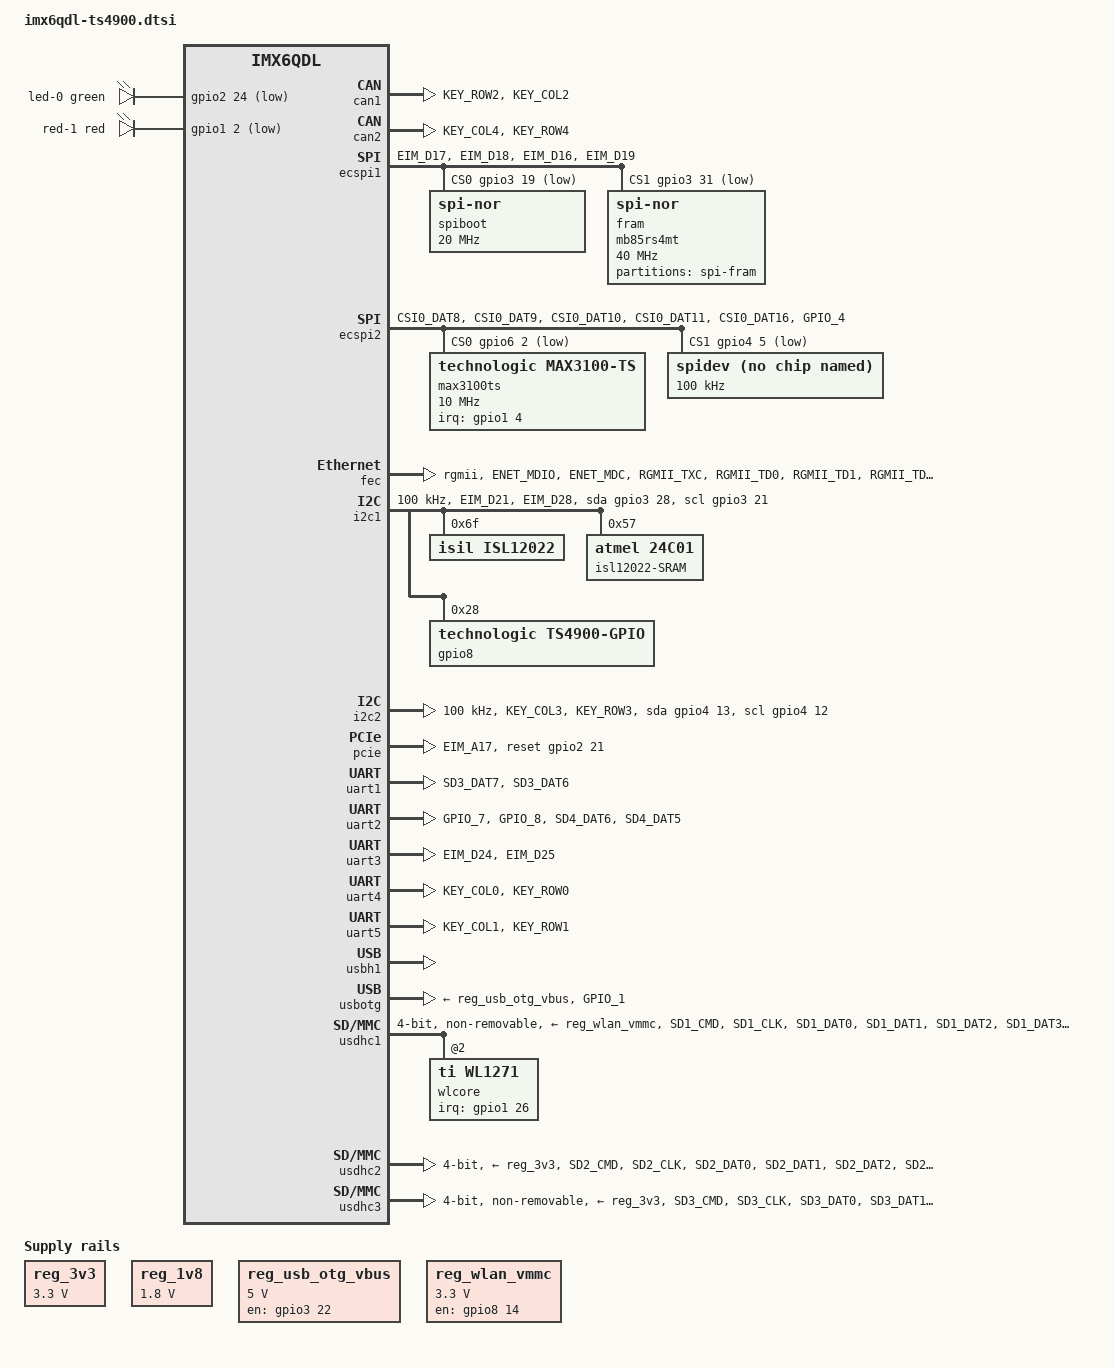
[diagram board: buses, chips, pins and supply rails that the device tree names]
// SPDX-License-Identifier: GPL-2.0 OR X11
/*
 * Copyright 2015-2022 Technologic Systems, Inc. dba embeddedTS
 */

#include <dt-bindings/leds/common.h>
#include <dt-bindings/gpio/gpio.h>
#include <dt-bindings/interrupt-controller/irq.h>

/ {
	aliases {
		ethernet0 = &fec;
	};

  // LED controller
	led-controller {
		pinctrl-names = "default";
		pinctrl-0 = <&pinctrl_gpio_leds>;
		compatible = "gpio-leds";

		led-0 {
			color = <LED_COLOR_ID_GREEN>;
			function = LED_FUNCTION_POWER;
			gpios = <&gpio2 24 GPIO_ACTIVE_LOW>;
			default-state = "on";
		};

		red-1 {
			color = <LED_COLOR_ID_RED>;
			functino = LED_FUNCTION_STATUS;
			gpios = <&gpio1 2 GPIO_ACTIVE_LOW>;
			default-state = "off";
		};
	};

  // Power regulator?
	reg_3v3: regulator-3v3 {
		compatible = "regulator-fixed";
		regulator-name = "3V3";
		regulator-min-microvolt = <3300000>;
		regulator-max-microvolt = <3300000>;
		regulator-always-on;
	};

  // Power regulator?
	reg_1v8: regulator-1v8 {
		compatible = "regulator-fixed";
		regulator-name = "1V8";
		regulator-min-microvolt = <1800000>;
		regulator-max-microvolt = <1800000>;
		regulator-always-on;
	};

  // USB power supply?
	reg_usb_otg_vbus: regulator-usb-otg-vbus {
		compatible = "regulator-fixed";
		regulator-name = "USB_OTG_VBUS";
		regulator-min-microvolt = <5000000>;
		regulator-max-microvolt = <5000000>;
		gpio = <&gpio3 22 GPIO_ACTIVE_HIGH>;
		enable-active-high;
	};

  // modem power supply?
	reg_wlan_vmmc: regulator-wlan-vmmc {
		compatible = "regulator-fixed";
		regulator-name = "WLAN_3V3";
		regulator-min-microvolt = <3300000>;
		regulator-max-microvolt = <3300000>;
		gpio = <&gpio8 14 GPIO_ACTIVE_HIGH>;
		startup-delay-us = <70000>;
		enable-active-high;
	};
};

// CAN bus 1
&can1 {
	pinctrl-names = "default";
	pinctrl-0 = <&pinctrl_flexcan1>;
	status = "okay";
};

// CAN bus 2
&can2 {
	pinctrl-names = "default";
	pinctrl-0 = <&pinctrl_flexcan2>;
	status = "okay";
};

// SPI controller 1
&ecspi1 {
	num-cs = <2>;
	cs-gpios = <&gpio3 19 GPIO_ACTIVE_LOW>,<&gpio3 31 GPIO_ACTIVE_LOW>;
	pinctrl-names = "default";
	pinctrl-0 = <&pinctrl_ecspi1>;
	status = "okay";

  // our SPI flash?
	spiboot: flash@0 {
		compatible = "jedec,spi-nor";
		reg = <0>;
		spi-max-frequency = <20000000>;
	};

  fram: mb85rs4mt@1 {
    compatible = "jedec,spi-nor";
    reg = <1>;
    spi-max-frequency = <40000000>;
    #address-cells = <1>;
    #size-cells = <1>;
    m25p,fast-read;
    status = "okay";

    partition@p1 {
    label = "spi-fram";
    reg = <0x0 0x20000>;
    };
  };
};


// SPI 2
&ecspi2 {
	num-cs = <2>;
	cs-gpios = <&gpio6 2 GPIO_ACTIVE_LOW>, <&gpio4 5 GPIO_ACTIVE_LOW>;
	pinctrl-names = "default";
	pinctrl-0 = <&pinctrl_ecspi2>;
	status = "okay";

	max3100ts: serial@0 {
		compatible = "technologic,max3100-ts";
		reg = <0>;
		interrupt-parent = <&gpio1>;
		interrupts = <4 IRQ_TYPE_LEVEL_LOW>;
		spi-max-frequency = <10000000>;
		loopback = <0>;
		crystal = <1>;
		poll-time = <100>;
	};

  spidev@1 {
      compatible = "linux,spidev";
      reg = <1>;                   /* Chip select line 0 */
      spi-max-frequency = <100000>; /* Maximum SPI frequency */
  };
};
  
// Ethernet controller
&fec {
	pinctrl-names = "default";
	pinctrl-0 = <&pinctrl_enet>;
	interrupts-extended = <&gpio1 6 IRQ_TYPE_LEVEL_HIGH>,
			      <&intc 0 119 IRQ_TYPE_LEVEL_HIGH>;
	fsl,err006687-workaround-present;
	phy-mode = "rgmii";
	status = "okay";
};


// GPIO controller 1 Pin control names
&gpio1 {
	gpio-line-names = "AUD_MCLK", "", "", "", "", "REVA_DIO_1", "", "", "",
		"REVA_DIO_3", "", "", "", "", "", "", "", "", "", "", "", "",
		"", "", "", "", "", "", "", "", "", "";
};

// GPIO controller 2 pin control names
&gpio2 {
	gpio-line-names = "", "", "", "", "", "", "", "", "", "", "", "", "",
		"", "", "DIO_2", "DIO_18", "DIO_12", "DIO_16", "EN_LCD_3.3V",
		"DIO_14", "OFF_BD_RESET#", "EN_USB_5V#", "BUS_CS#", "", "DIO_15", "BUS_DIR",
		"BUS_ALE", "EN_SD_POWER#", "DIO_10", "", "";
};

// GPIO controller 2 pin control names
&gpio3 {
	gpio-line-names = "MUX_AD_00", "MUX_AD_01", "MUX_AD_02", "MUX_AD_03",
		"MUX_AD_04", "MUX_AD_05", "MUX_AD_06", "MUX_AD_07", "MUX_AD_08",
		"MUX_AD_09", "MUX_AD_10", "MUX_AD_11", "MUX_AD_12", "MUX_AD_13",
		"MUX_AD_14", "MUX_AD_15", "", "", "", "", "", "", "", "", "",
		"", "", "", "", "", "", "BUS_BHE#";
};

// GPIO controller 2 pin control names
&gpio4 {
	gpio-line-names = "", "", "", "", "", "DIO_7", "", "", "", "", "", "",
		"", "", "", "", "LCD_CLK", "LCD_DE", "LCD_HSYNC", "LCD_VSYNC",
		"", "LCD_D00", "LCD_D01", "LCD_D02", "LCD_D03", "LCD_D04",
		"LCD_D05", "LCD_D06", "LCD_D07", "LCD_D08", "LCD_D08",
		"LCD_D10";
};

// GPIO controller 2 pin control names
&gpio5 {
	gpio-line-names = "EIM_WAIT#", "", "", "", "DIO_20", "LCD_D11",
		"LCD_D12", "LCD_D13", "LCD_D14", "LCD_D15", "LCD_D16",
		"LCD_D17","LCD_D18", "LCD_D19", "LCD_D20", "LCD_D21",
		"LCD_D22", "LCD_D23", "DIO_9", "DIO_8", "FPGA_DONE",
		"FPGA_RESET#", "AUD_CLK", "AUD_TXD", "AUD_FRM", "AUD_RXD",
		"", "", "", "", "DIO_0", "DIO_6";
};

// GPIO controller 2 pin control names
&gpio6 {
	gpio-line-names = "", "", "", "CPU_DIO_A", "", "", "DIO_19", "", "",
		"", "", "", "", "", "", "", "", "", "", "", "", "", "", "", "",
		"", "", "", "", "", "", "DIO_13";
};

// GPIO controller 2 pin control names
&gpio7 {
	gpio-line-names = "", "", "", "", "", "", "", "", "CPU_DIO_B", "", "",
		"DIO_4", "DIO_5", "", "", "", "", "", "", "", "", "", "", "",
		"", "", "", "", "", "", "", "";
};

// I2C controller 1
&i2c1 {
	clock-frequency = <100000>;
	pinctrl-names = "default", "gpio";
	pinctrl-0 = <&pinctrl_i2c1>;
	pinctrl-1 = <&pinctrl_i2c1_gpio>;
	scl-gpios = <&gpio3 21 (GPIO_ACTIVE_HIGH | GPIO_OPEN_DRAIN)>;
	sda-gpios = <&gpio3 28 (GPIO_ACTIVE_HIGH | GPIO_OPEN_DRAIN)>;
	status = "okay";

  // Real Time Clock
	isl12022: rtc@6f {
		compatible = "isil,isl12022";
		reg = <0x6f>;
		btse-minutes = <1>;
		vb75t = <2>; /* 2.25 V */
		vb85t = <2>; /* 2.55 V */
	};

  // SRAM 
	isl12022_sram: eeprom@57 {
		compatible = "atmel,24c01";
		reg = <0x57>;
		label = "isl12022-SRAM";
		pagesize = <128>;
		size = <128>;
		address-width = <8>;
	};

  // gpio controller 8
	gpio8: gpio@28 {
		compatible = "technologic,ts4900-gpio";
		reg = <0x28>;
		#gpio-cells = <2>;
		gpio-controller;
		base = <224>;
		ngpios = <32>;

		gpio-line-names = "CN1_63", "CN1_67", "CN1_87", "REVA_MUX_AD_15",
			"REVA_CN2_54", "CN2_78", "CN2_80", "CN2_86", "CN2_88",
			"CN2_94", "CN2_96", "CN2_98", "CN2_100", "", "", "", "",
			"", "", "", "",	"", "", "", "", "", "", "", "", "", "",
			"PUSH_SW#";
	};
};

// second I2C bus
&i2c2 {
	clock-frequency = <100000>;
	pinctrl-names = "default", "gpio";
	pinctrl-0 = <&pinctrl_i2c2>;
	pinctrl-1 = <&pinctrl_i2c2_gpio>;
	scl-gpios = <&gpio4 12 (GPIO_ACTIVE_HIGH | GPIO_OPEN_DRAIN)>;
	sda-gpios = <&gpio4 13 (GPIO_ACTIVE_HIGH | GPIO_OPEN_DRAIN)>;
	status = "okay";
};

// IO multiplexer controller 1
&iomuxc {
	pinctrl-names = "default";
	pinctrl-0 = <&pinctrl_hog>;

  // Pin control group 1 for SPI
	pinctrl_ecspi1: ecspi1grp {
		fsl,pins = <
			MX6QDL_PAD_EIM_D17__ECSPI1_MISO			0x100b1
			MX6QDL_PAD_EIM_D18__ECSPI1_MOSI			0x100b1
			MX6QDL_PAD_EIM_D16__ECSPI1_SCLK			0x100b1
			MX6QDL_PAD_EIM_D19__GPIO3_IO19			0x100b1 /* Onboard flash CS1# */
		>;
	};


  // Pin control group 2 for SPI
	pinctrl_ecspi2: ecspi2grp {
		fsl,pins = <
			MX6QDL_PAD_CSI0_DAT8__ECSPI2_SCLK		0x100b1
			MX6QDL_PAD_CSI0_DAT9__ECSPI2_MOSI		0x100b1
			MX6QDL_PAD_CSI0_DAT10__ECSPI2_MISO		0x100b1
			MX6QDL_PAD_CSI0_DAT11__GPIO5_IO29		0x100b1 /* Offboard CS0# */
			MX6QDL_PAD_CSI0_DAT16__GPIO6_IO02		0x100b1 /* FPGA CS1# */
			MX6QDL_PAD_GPIO_4__GPIO1_IO04			0x1b0b1 /* FPGA_IRQ */
		>;
	};

  // Pin control group 1 for ethernet
	pinctrl_enet: enetgrp {
		fsl,pins = <
			MX6QDL_PAD_ENET_MDIO__ENET_MDIO			0x1b0b0
			MX6QDL_PAD_ENET_MDC__ENET_MDC			0x1b0b0
			MX6QDL_PAD_RGMII_TXC__RGMII_TXC			0x1b030
			MX6QDL_PAD_RGMII_TD0__RGMII_TD0			0x1b030
			MX6QDL_PAD_RGMII_TD1__RGMII_TD1			0x1b030
			MX6QDL_PAD_RGMII_TD2__RGMII_TD2			0x1b030
			MX6QDL_PAD_RGMII_TD3__RGMII_TD3			0x1b030
			MX6QDL_PAD_RGMII_TX_CTL__RGMII_TX_CTL		0x1b030
			MX6QDL_PAD_RGMII_RXC__RGMII_RXC			0x1b030
			MX6QDL_PAD_RGMII_RD0__RGMII_RD0			0x1b030
			MX6QDL_PAD_RGMII_RD1__RGMII_RD1			0x1b030
			MX6QDL_PAD_RGMII_RD2__RGMII_RD2			0x1b030
			MX6QDL_PAD_RGMII_RD3__RGMII_RD3			0x1b030
			MX6QDL_PAD_RGMII_RX_CTL__RGMII_RX_CTL		0x1b030
			MX6QDL_PAD_ENET_REF_CLK__ENET_TX_CLK		0x4001b0a8
			MX6QDL_PAD_ENET_TX_EN__GPIO1_IO28		0x1b0b1
			MX6QDL_PAD_DI0_PIN4__GPIO4_IO20			0x1b0b1 /* ETH_PHY_RESET */
			MX6QDL_PAD_GPIO_6__ENET_IRQ			0x000b1
		>;
	};

  // Pin control group 1 for CAN
	pinctrl_flexcan1: flexcan1grp {
		fsl,pins = <
			MX6QDL_PAD_KEY_ROW2__FLEXCAN1_RX		0x1b0b1
			MX6QDL_PAD_KEY_COL2__FLEXCAN1_TX		0x1b0b1
		>;
	};

  // Pin control group 2 for CAN
	pinctrl_flexcan2: flexcan2grp {
		fsl,pins = <
			MX6QDL_PAD_KEY_COL4__FLEXCAN2_TX		0x1b0b1
			MX6QDL_PAD_KEY_ROW4__FLEXCAN2_RX		0x1b0b1
		>;
	};

  // Pin control group 1 for PCIE
	pinctrl_pcie: pciegrp {
		fsl,pins = <
			MX6QDL_PAD_EIM_A17__GPIO2_IO21			0x1b088 /* OFF_BD_RESET#/PE_RST# */
		>;
	};

	/* Pins common to ALL baseboards that are always GPIO */
	pinctrl_hog: hoggrp {
		fsl,pins = <
			MX6QDL_PAD_SD4_DAT7__GPIO2_IO15			0x1b0b1 /* DIO_2 */
			MX6QDL_PAD_EIM_A22__GPIO2_IO16			0x1b0b1 /* DIO_18 */
			MX6QDL_PAD_EIM_A21__GPIO2_IO17			0x1b0b1 /* DIO_12 */
			MX6QDL_PAD_EIM_A20__GPIO2_IO18			0x1b0b1 /* DIO_16 */
			MX6QDL_PAD_EIM_A18__GPIO2_IO20			0x1b0b1 /* DIO_14 */
			MX6QDL_PAD_EIM_A16__GPIO2_IO22			0x1b0b1 /* EN_USB_5V# */
			MX6QDL_PAD_EIM_OE__GPIO2_IO25			0x1b0b1 /* DIO_15 */
			MX6QDL_PAD_GPIO_19__GPIO4_IO05			0x1b0b1 /* DIO_7 */
			MX6QDL_PAD_EIM_A24__GPIO5_IO04			0x1b0b1 /* DIO_20 */
			MX6QDL_PAD_CSI0_PIXCLK__GPIO5_IO18		0x1b0b1 /* DIO_9 */
			MX6QDL_PAD_CSI0_MCLK__GPIO5_IO19		0x1b0b1 /* DIO_8 */
			MX6QDL_PAD_CSI0_DATA_EN__GPIO5_IO20		0x1b0b1 /* FPGA_DONE */
			MX6QDL_PAD_CSI0_VSYNC__GPIO5_IO21		0x1b0b1 /* FPGA_RESET# */
			MX6QDL_PAD_CSI0_DAT12__GPIO5_IO30		0x1b0b1 /* DIO_0 */
			MX6QDL_PAD_CSI0_DAT13__GPIO5_IO31		0x1b0b1 /* DIO_6 */
			MX6QDL_PAD_CSI0_DAT17__GPIO6_IO03		0x1b0b1 /* CPU_DIO_A */
			MX6QDL_PAD_EIM_A23__GPIO6_IO06			0x1b0b1 /* DIO_19 */
			MX6QDL_PAD_GPIO_16__GPIO7_IO11			0x1b0b1 /* DIO_4 */
			MX6QDL_PAD_GPIO_17__GPIO7_IO12			0x1b0b1 /* DIO_5 */
			MX6QDL_PAD_SD3_RST__GPIO7_IO08			0x1b0b1 /* CPU_DIO_B */
			MX6QDL_PAD_EIM_BCLK__GPIO6_IO31			0x1b0b1 /* DIO_13 */
			MX6QDL_PAD_GPIO_3__XTALOSC_REF_CLK_24M		0x10    /* FPGA 24MHZ */
			/* Only on rev A PCBs */
			MX6QDL_PAD_GPIO_5__GPIO1_IO05			0x1b0b1 /* DIO_1 */
			MX6QDL_PAD_GPIO_9__GPIO1_IO09			0x1b0b1 /* DIO_3 */
		>;
	};

  // Not too sure yet
	pinctrl_muxbus_gpio: mbgpiogrp {
		fsl,pins = <
			MX6QDL_PAD_EIM_D31__GPIO3_IO31			0x1b0b1 /* DIO_10 */
			MX6QDL_PAD_EIM_EB1__GPIO2_IO29			0x1b0b1 /* BUS_BHE# */

			MX6QDL_PAD_EIM_WAIT__GPIO5_IO00			0x1b0b1 /* EIM_WAIT# */
			MX6QDL_PAD_EIM_CS0__GPIO2_IO23			0x1b0b1 /* BUS_CS# */
			MX6QDL_PAD_EIM_RW__GPIO2_IO26			0x1b0b1 /* BUS_DIR */
			MX6QDL_PAD_EIM_LBA__GPIO2_IO27			0x1b0b1 /* BUS_ALE# */
			MX6QDL_PAD_EIM_DA0__GPIO3_IO00			0x1b0b1 /* MUX_AD_00 */
			MX6QDL_PAD_EIM_DA1__GPIO3_IO01			0x1b0b1 /* MUX_AD_01 */
			MX6QDL_PAD_EIM_DA2__GPIO3_IO02			0x1b0b1 /* MUX_AD_02 */
			MX6QDL_PAD_EIM_DA3__GPIO3_IO03			0x1b0b1 /* MUX_AD_03 */
			MX6QDL_PAD_EIM_DA4__GPIO3_IO04			0x1b0b1 /* MUX_AD_04 */
			MX6QDL_PAD_EIM_DA5__GPIO3_IO05			0x1b0b1 /* MUX_AD_05 */
			MX6QDL_PAD_EIM_DA6__GPIO3_IO06			0x1b0b1 /* MUX_AD_06 */
			MX6QDL_PAD_EIM_DA7__GPIO3_IO07			0x1b0b1 /* MUX_AD_07 */
			MX6QDL_PAD_EIM_DA8__GPIO3_IO08			0x1b0b1 /* MUX_AD_08 */
			MX6QDL_PAD_EIM_DA9__GPIO3_IO09			0x1b0b1 /* MUX_AD_09 */
			MX6QDL_PAD_EIM_DA10__GPIO3_IO10			0x1b0b1 /* MUX_AD_10 */
			MX6QDL_PAD_EIM_DA11__GPIO3_IO11			0x1b0b1 /* MUX_AD_11 */
			MX6QDL_PAD_EIM_DA12__GPIO3_IO12			0x1b0b1 /* MUX_AD_12 */
			MX6QDL_PAD_EIM_DA13__GPIO3_IO13			0x1b0b1 /* MUX_AD_13 */
			MX6QDL_PAD_EIM_DA14__GPIO3_IO14			0x1b0b1 /* MUX_AD_14 */
			MX6QDL_PAD_EIM_DA15__GPIO3_IO15			0x1b0b1 /* MUX_AD_15 */
		>;
	};

  // Pin control group for SPI ? Not sure what the BB is for 
  // Baseboard maybe?
	pinctrl_bb_spi: bbspigrp {
		fsl,pins = <
			MX6QDL_PAD_EIM_DA11__GPIO3_IO11			0x1b088 /* IRQn (usually) */
			MX6QDL_PAD_EIM_DA12__GPIO3_IO12			0x1b088 /* CS# */
			MX6QDL_PAD_EIM_DA13__GPIO3_IO13			0x1b088 /* MISO */
			MX6QDL_PAD_EIM_DA14__GPIO3_IO14			0x1b088 /* MOSI */
			MX6QDL_PAD_EIM_DA15__GPIO3_IO15			0x1b088 /* CLK */
		>;
	};


  // Inter-IC Sound pin control group
	pinctrl_i2s: i2sgrp {
		fsl,pins = <
			MX6QDL_PAD_CSI0_DAT7__AUD3_RXD			0x130b0
			MX6QDL_PAD_CSI0_DAT4__AUD3_TXC			0x130b0
			MX6QDL_PAD_CSI0_DAT5__AUD3_TXD			0x110b0
			MX6QDL_PAD_CSI0_DAT6__AUD3_TXFS			0x130b0
			MX6QDL_PAD_GPIO_0__CCM_CLKO1			0x130b0 /* Audio CLK */
		>;
	};

  // Inter-IC Sound pin control group
	pinctrl_i2s: i2sgrp {
		fsl,pins = <
			MX6QDL_PAD_CSI0_DAT7__AUD3_RXD			0x130b0
			MX6QDL_PAD_CSI0_DAT4__AUD3_TXC			0x130b0
			MX6QDL_PAD_CSI0_DAT5__AUD3_TXD			0x110b0
			MX6QDL_PAD_CSI0_DAT6__AUD3_TXFS			0x130b0
			MX6QDL_PAD_GPIO_0__CCM_CLKO1			0x130b0 /* Audio CLK */
		>;
	};


  // Inter-IC Sound pin control group
	pinctrl_i2s_gpio: i2sgpiogrp {
		fsl,pins = <
			MX6QDL_PAD_GPIO_0__GPIO1_IO00			0x130b0 /* AUD_MCLK */
			MX6QDL_PAD_CSI0_DAT4__GPIO5_IO22		0x1b0b1 /* AUD_CLK */
			MX6QDL_PAD_CSI0_DAT5__GPIO5_IO23		0x1b0b1 /* AUD_TXD */
			MX6QDL_PAD_CSI0_DAT6__GPIO5_IO24		0x1b0b1 /* AUD_FRM */
			MX6QDL_PAD_CSI0_DAT7__GPIO5_IO25		0x1b0b1 /* AUD_RXD */
		>;
	};

  // LCD pin control group
	pinctrl_lcd: lcdgrp {
		fsl,pins = <
			MX6QDL_PAD_DI0_DISP_CLK__IPU1_DI0_DISP_CLK	0x38
			MX6QDL_PAD_DI0_PIN15__IPU1_DI0_PIN15		0xe0 /* DE */
			MX6QDL_PAD_DI0_PIN2__IPU1_DI0_PIN02		0xe0 /* Hsync */
			MX6QDL_PAD_DI0_PIN3__IPU1_DI0_PIN03		0xe0 /* Vsync */
			MX6QDL_PAD_DISP0_DAT0__IPU1_DISP0_DATA00	0xe0
			MX6QDL_PAD_DISP0_DAT1__IPU1_DISP0_DATA01	0xe0
			MX6QDL_PAD_DISP0_DAT2__IPU1_DISP0_DATA02	0xe0
			MX6QDL_PAD_DISP0_DAT3__IPU1_DISP0_DATA03	0xe0
			MX6QDL_PAD_DISP0_DAT4__IPU1_DISP0_DATA04	0xe0
			MX6QDL_PAD_DISP0_DAT5__IPU1_DISP0_DATA05	0xe0
			MX6QDL_PAD_DISP0_DAT6__IPU1_DISP0_DATA06	0xe0
			MX6QDL_PAD_DISP0_DAT7__IPU1_DISP0_DATA07	0xe0
			MX6QDL_PAD_DISP0_DAT8__IPU1_DISP0_DATA08	0xe0
			MX6QDL_PAD_DISP0_DAT9__IPU1_DISP0_DATA09	0xe0
			MX6QDL_PAD_DISP0_DAT10__IPU1_DISP0_DATA10	0xe0
			MX6QDL_PAD_DISP0_DAT11__IPU1_DISP0_DATA11	0xe0
			MX6QDL_PAD_DISP0_DAT12__IPU1_DISP0_DATA12	0xe0
			MX6QDL_PAD_DISP0_DAT13__IPU1_DISP0_DATA13	0xe0
			MX6QDL_PAD_DISP0_DAT14__IPU1_DISP0_DATA14	0xe0
			MX6QDL_PAD_DISP0_DAT15__IPU1_DISP0_DATA15	0xe0
			MX6QDL_PAD_DISP0_DAT16__IPU1_DISP0_DATA16	0xe0
			MX6QDL_PAD_DISP0_DAT17__IPU1_DISP0_DATA17	0xe0
			MX6QDL_PAD_DISP0_DAT18__IPU1_DISP0_DATA18	0xe0
			MX6QDL_PAD_DISP0_DAT19__IPU1_DISP0_DATA19	0xe0
			MX6QDL_PAD_DISP0_DAT20__IPU1_DISP0_DATA20	0xe0
			MX6QDL_PAD_DISP0_DAT21__IPU1_DISP0_DATA21	0xe0
			MX6QDL_PAD_DISP0_DAT22__IPU1_DISP0_DATA22	0xe0
			MX6QDL_PAD_DISP0_DAT23__IPU1_DISP0_DATA23	0xe0
		>;
	};

  // LCD pin control group
	pinctrl_lcd_gpio: lcdgpiogrp {
		fsl,pins = <
			MX6QDL_PAD_EIM_A19__GPIO2_IO19			0x1b0b1 /* EN_LCD_3.3V */
			MX6QDL_PAD_DI0_DISP_CLK__GPIO4_IO16		0x1b0b1 /* LCD_CLK */
			MX6QDL_PAD_DI0_PIN15__GPIO4_IO17		0x1b0b1 /* DE */
			MX6QDL_PAD_DI0_PIN2__GPIO4_IO18			0x1b0b1 /* Hsync */
			MX6QDL_PAD_DI0_PIN3__GPIO4_IO19			0x1b0b1 /* Vsync */
			MX6QDL_PAD_DISP0_DAT0__GPIO4_IO21		0x1b0b1
			MX6QDL_PAD_DISP0_DAT1__GPIO4_IO22		0x1b0b1
			MX6QDL_PAD_DISP0_DAT2__GPIO4_IO23		0x1b0b1
			MX6QDL_PAD_DISP0_DAT3__GPIO4_IO24		0x1b0b1
			MX6QDL_PAD_DISP0_DAT4__GPIO4_IO25		0x1b0b1
			MX6QDL_PAD_DISP0_DAT5__GPIO4_IO26		0x1b0b1
			MX6QDL_PAD_DISP0_DAT6__GPIO4_IO27		0x1b0b1
			MX6QDL_PAD_DISP0_DAT7__GPIO4_IO28		0x1b0b1
			MX6QDL_PAD_DISP0_DAT8__GPIO4_IO29		0x1b0b1
			MX6QDL_PAD_DISP0_DAT9__GPIO4_IO30		0x1b0b1
			MX6QDL_PAD_DISP0_DAT10__GPIO4_IO31		0x1b0b1
			MX6QDL_PAD_DISP0_DAT11__GPIO5_IO05		0x1b0b1
			MX6QDL_PAD_DISP0_DAT12__GPIO5_IO06		0x1b0b1
			MX6QDL_PAD_DISP0_DAT13__GPIO5_IO07		0x1b0b1
			MX6QDL_PAD_DISP0_DAT14__GPIO5_IO08		0x1b0b1
			MX6QDL_PAD_DISP0_DAT15__GPIO5_IO09		0x1b0b1
			MX6QDL_PAD_DISP0_DAT16__GPIO5_IO10		0x1b0b1
			MX6QDL_PAD_DISP0_DAT17__GPIO5_IO11		0x1b0b1
			MX6QDL_PAD_DISP0_DAT18__GPIO5_IO12		0x1b0b1
			MX6QDL_PAD_DISP0_DAT19__GPIO5_IO13		0x1b0b1
			MX6QDL_PAD_DISP0_DAT20__GPIO5_IO14		0x1b0b1
			MX6QDL_PAD_DISP0_DAT21__GPIO5_IO15		0x1b0b1
			MX6QDL_PAD_DISP0_DAT22__GPIO5_IO16		0x1b0b1
			MX6QDL_PAD_DISP0_DAT23__GPIO5_IO17		0x1b0b1
		>;
	};


  // I2C Pin control group 1
	pinctrl_i2c1: i2c1grp {
		fsl,pins = <
			MX6QDL_PAD_EIM_D21__I2C1_SCL			0x4001b8b1
			MX6QDL_PAD_EIM_D28__I2C1_SDA			0x4001b8b1
		>;
	};

  // GPIO pin control group for i2x?
	pinctrl_i2c1_gpio: i2c1gpiogrp {
		fsl,pins = <
			MX6QDL_PAD_EIM_D21__GPIO3_IO21			0x4001b8b1
			MX6QDL_PAD_EIM_D28__GPIO3_IO28			0x4001b8b1
		>;
	};

  // As above
	pinctrl_i2c2: i2c2grp {
		fsl,pins = <
			MX6QDL_PAD_KEY_COL3__I2C2_SCL			0x4001b8b1
			MX6QDL_PAD_KEY_ROW3__I2C2_SDA			0x4001b8b1
		>;
	};

  // As above
	pinctrl_i2c2_gpio: i2c2gpiogrp {
		fsl,pins = <
			MX6QDL_PAD_KEY_COL3__GPIO4_IO12			0x4001b8b1
			MX6QDL_PAD_KEY_ROW3__GPIO4_IO13			0x4001b8b1
		>;
	};

  // Pin group for GPIOs to function as LEDs
	pinctrl_gpio_leds: leds1grp {
		fsl,pins = <
			MX6QDL_PAD_GPIO_2__GPIO1_IO02			0x1b0b1 /* RED_LED# */
			MX6QDL_PAD_EIM_CS1__GPIO2_IO24			0x1b0b1 /* GREEN_LED# */
		>;
	};

  // Pin control group for the UART 1
	pinctrl_uart1: uart1grp {
		fsl,pins = <
			MX6QDL_PAD_SD3_DAT7__UART1_TX_DATA		0x1b0b1
			MX6QDL_PAD_SD3_DAT6__UART1_RX_DATA		0x1b0b1
		>;
	};

  // Pin control group for the UART 2
	pinctrl_uart2: uart2grp {
		fsl,pins = <
			MX6QDL_PAD_GPIO_7__UART2_TX_DATA		0x1b0b1
			MX6QDL_PAD_GPIO_8__UART2_RX_DATA		0x1b0b1
			MX6QDL_PAD_SD4_DAT6__UART2_CTS_B		0x1b0b1
			MX6QDL_PAD_SD4_DAT5__UART2_RTS_B		0x1b0b1
		>;
	};

  // Pin control group for the UART 3
	pinctrl_uart3: uart3grp {
		fsl,pins = <
			MX6QDL_PAD_EIM_D24__UART3_TX_DATA		0x1b0b1
			MX6QDL_PAD_EIM_D25__UART3_RX_DATA		0x1b0b1
		>;
	};

  // Pin control group for the UART 4
	pinctrl_uart4: uart4grp {
		fsl,pins = <
			MX6QDL_PAD_KEY_COL0__UART4_TX_DATA		0x1b0b1
			MX6QDL_PAD_KEY_ROW0__UART4_RX_DATA		0x1b0b1
		>;
	};

  // Pin control group for the UART 5
	pinctrl_uart5: uart5grp {
		fsl,pins = <
			MX6QDL_PAD_KEY_COL1__UART5_TX_DATA		0x1b0b1
			MX6QDL_PAD_KEY_ROW1__UART5_RX_DATA		0x1b0b1
		>;
	};

  // USB on the go pin control group
  // Allows USB peripherals to function as both the host, and the peripheral
	pinctrl_usbotg: usbotggrp {
		fsl,pins = <
			MX6QDL_PAD_GPIO_1__USB_OTG_ID			0x17059
		>;
	};

  // USDHC pin control group
  // Most likely has to do with the SD card
	pinctrl_usdhc1: usdhc1grp {
		fsl,pins = <
			MX6QDL_PAD_SD1_CMD__SD1_CMD			0x17059
			MX6QDL_PAD_SD1_CLK__SD1_CLK			0x17059
			MX6QDL_PAD_SD1_DAT0__SD1_DATA0			0x17059
			MX6QDL_PAD_SD1_DAT1__SD1_DATA1			0x17059
			MX6QDL_PAD_SD1_DAT2__SD1_DATA2			0x17059
			MX6QDL_PAD_SD1_DAT3__SD1_DATA3			0x17059
			MX6QDL_PAD_ENET_RXD0__GPIO1_IO27		0x17059 /* BT_EN */
			MX6QDL_PAD_ENET_RXD1__GPIO1_IO26		0x17059 /* WIFI IRQ / WIFI_EN */
		>;
	};

  // As Aboce
	pinctrl_usdhc1_100mhz: usdhc1grp-100mhz {
		fsl,pins = <
			MX6QDL_PAD_SD1_CMD__SD1_CMD			0x170B9
			MX6QDL_PAD_SD1_CLK__SD1_CLK			0x100B9
			MX6QDL_PAD_SD1_DAT0__SD1_DATA0			0x170B9
			MX6QDL_PAD_SD1_DAT1__SD1_DATA1			0x170B9
			MX6QDL_PAD_SD1_DAT2__SD1_DATA2			0x170B9
			MX6QDL_PAD_SD1_DAT3__SD1_DATA3			0x170B9
		>;
	};

  // As above
	pinctrl_usdhc1_200mhz: usdhc1grp-200mhz {
		fsl,pins = <
			MX6QDL_PAD_SD1_CMD__SD1_CMD			0x170F9
			MX6QDL_PAD_SD1_CLK__SD1_CLK			0x100F9
			MX6QDL_PAD_SD1_DAT0__SD1_DATA0			0x170F9
			MX6QDL_PAD_SD1_DAT1__SD1_DATA1			0x170F9
			MX6QDL_PAD_SD1_DAT2__SD1_DATA2			0x170F9
			MX6QDL_PAD_SD1_DAT3__SD1_DATA3			0x170F9
		>;
	};

  // As above
	pinctrl_usdhc2: usdhc2grp {
		fsl,pins = <
			MX6QDL_PAD_SD2_CMD__SD2_CMD			0x17059
			MX6QDL_PAD_SD2_CLK__SD2_CLK			0x10059
			MX6QDL_PAD_SD2_DAT0__SD2_DATA0			0x17059
			MX6QDL_PAD_SD2_DAT1__SD2_DATA1			0x17059
			MX6QDL_PAD_SD2_DAT2__SD2_DATA2			0x17059
			MX6QDL_PAD_SD2_DAT3__SD2_DATA3			0x17059
			MX6QDL_PAD_EIM_EB0__GPIO2_IO28			0x1b0b1 /* EN_SD_POWER# */
		>;
	};

  // As above
	pinctrl_usdhc3: usdhc3grp {
		fsl,pins = <
			MX6QDL_PAD_SD3_CMD__SD3_CMD			0x17059
			MX6QDL_PAD_SD3_CLK__SD3_CLK			0x10059
			MX6QDL_PAD_SD3_DAT0__SD3_DATA0			0x17059
			MX6QDL_PAD_SD3_DAT1__SD3_DATA1			0x17059
			MX6QDL_PAD_SD3_DAT2__SD3_DATA2			0x17059
			MX6QDL_PAD_SD3_DAT3__SD3_DATA3			0x17059
		>;
	};
};


// Our PCIE controller
&pcie {
	pinctrl-names = "default";
	pinctrl-0 = <&pinctrl_pcie>;
	reset-gpio = <&gpio2 21 GPIO_ACTIVE_HIGH>;
	status = "okay";
};

// Secure non volatile storage real time clock
// Not sure where it would be on our board
&snvs_rtc {
	status = "disabled";
};

// The UART1 controller, the compatible string is likely defined elsewhere
&uart1 {
	pinctrl-names = "default";
	pinctrl-0 = <&pinctrl_uart1>;
	status = "okay";
};

// The UART2 controller, the compatible string is likely defined elsewhere
&uart2 {
	pinctrl-names = "default";
	pinctrl-0 = <&pinctrl_uart2>;
	uart-has-rtscts;
	status = "okay";
};

// The UART3 controller, the compatible string is likely defined elsewhere
&uart3 {
	pinctrl-names = "default";
	pinctrl-0 = <&pinctrl_uart3>;
	status = "okay";
};

// The UART4 controller, the compatible string is likely defined elsewhere
&uart4 {
	pinctrl-names = "default";
	pinctrl-0 = <&pinctrl_uart4>;
	status = "okay";
};

// The UART5 controller, the compatible string is likely defined elsewhere
&uart5 {
	pinctrl-names = "default";
	pinctrl-0 = <&pinctrl_uart5>;
	status = "okay";
};


// USB host 1 controller
&usbh1 {
	disable-over-current;
	status = "okay";
};

// USB on the go controller
&usbotg {
	vbus-supply = <&reg_usb_otg_vbus>;
	pinctrl-names = "default";
	pinctrl-0 = <&pinctrl_usbotg>;
	disable-over-current;
	status = "okay";
};

// usdh controller 1, manages our wifi unit
&usdhc1 {
	pinctrl-names = "default", "state_100mhz", "state_200mhz";
	pinctrl-0 = <&pinctrl_usdhc1>;
	pinctrl-1 = <&pinctrl_usdhc1_100mhz>;
	pinctrl-2 = <&pinctrl_usdhc1_200mhz>;
	vmmc-supply = <&reg_wlan_vmmc>;
	vqmmc-supply = <&reg_1v8>;
	bus-width = <4>;
	non-removable;
	keep-power-in-suspend;
	cap-sdio-irq;
	fsl,tuning-step = <2>;
	#address-cells = <1>;
	#size-cells = <0>;
	status = "okay";

  // WiFi controller
	wlcore: wlcore@2 {
		compatible = "ti,wl1271";
		reg = <2>;
		interrupt-parent = <&gpio1>;
		interrupts = <26 IRQ_TYPE_LEVEL_HIGH>;
		ref-clock-frequency = <38400000>;
	};
};

/* SD */
&usdhc2 {
	pinctrl-names = "default";
	pinctrl-0 = <&pinctrl_usdhc2>;
	vmmc-supply = <&reg_3v3>;
	bus-width = <4>;
	fsl,wp-controller;
	status = "okay";
};

/* eMMC */
&usdhc3 {
	pinctrl-names = "default";
	pinctrl-0 = <&pinctrl_usdhc3>;
	vmmc-supply = <&reg_3v3>;
	bus-width = <4>;
	non-removable;
	status = "okay";
};
